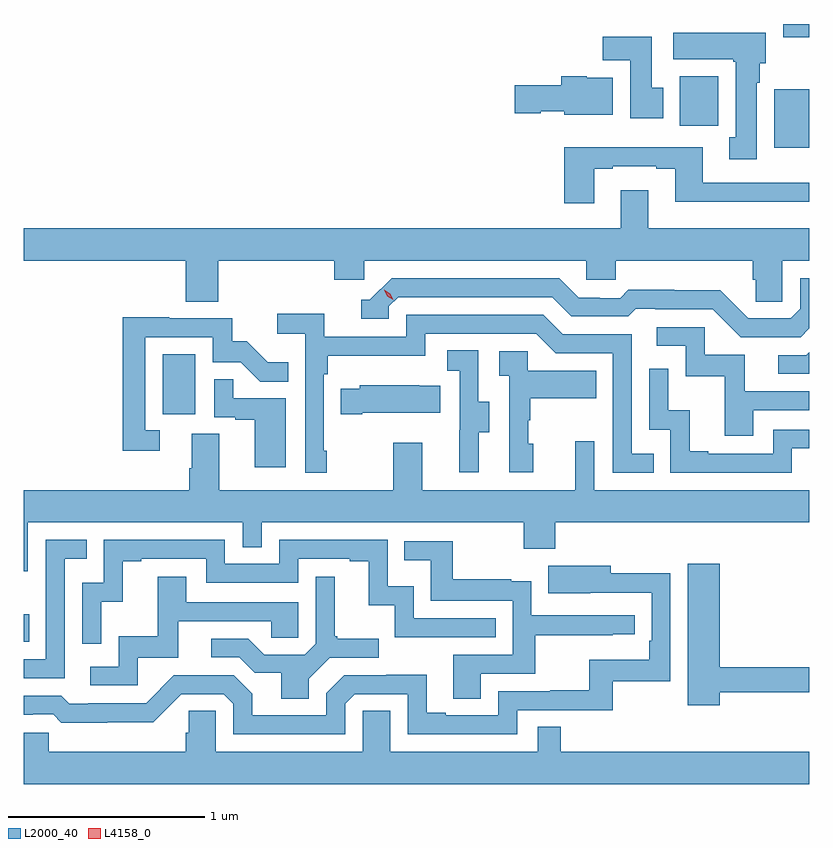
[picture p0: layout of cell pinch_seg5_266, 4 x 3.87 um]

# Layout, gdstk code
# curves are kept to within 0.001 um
import gdstk
lib = gdstk.Library(unit=1e-6, precision=1e-09)
def R(c, l, rs):  # rectangles x0, y0, x1, y1
    for r in rs: c.add(gdstk.rectangle(r[:2], r[2:], *l))
def P(c, l, *ps):  # polygons
    for p in ps: c.add(gdstk.Polygon(p, *l))
L2000_40 = (2000, 40)
L4158_0 = (4158, 0)

pinch_seg5_266 = lib.new_cell('pinch_seg5_266')
R(pinch_seg5_266, L2000_40, [(912.085,909.431,912.113,909.571), (912.794,910.59,912.958,910.897), (915.425,912.06,915.621,912.31), (915.953,912.51,916.085,912.577)])
P(pinch_seg5_266, L2000_40, [(915.817,912.278),(915.832,912.278),(915.832,912.378),(915.862,912.378),(915.862,912.532),(915.393,912.532),(915.393,912.398),(915.697,912.398),(915.697,912.385),(915.71,912.385),(915.71,912.001),(915.677,912.001),(915.677,911.889),(915.817,911.889)],
  [(915.34,912.252),(915.283,912.252),(915.283,912.511),(915.034,912.511),(915.034,912.392),(915.173,912.392),(915.173,912.096),(915.34,912.096)],
  [(915.085,912.304),(914.952,912.304),(914.952,912.31),(914.822,912.31),(914.822,912.264),(914.586,912.264),(914.586,912.122),(914.718,912.122),(914.718,912.134),(914.838,912.134),(914.838,912.116),(915.085,912.116)],
  [(916.084,912.047),(916.085,912.047),(916.085,912.194),(916.084,912.194),(916.084,912.244),(915.905,912.244),(915.905,911.948),(916.084,911.948)],
  [(914.989,911.841),(915.085,911.841),(915.085,911.853),(915.305,911.853),(915.305,911.841),(915.401,911.841),(915.401,911.672),(916.085,911.672),(916.085,911.769),(915.541,911.769),(915.541,911.95),(914.837,911.95),(914.837,911.664),(914.989,911.664)],
  [(913.076,911.372),(913.667,911.372),(913.667,911.274),(913.818,911.274),(913.818,911.372),(914.949,911.372),(914.949,911.274),(915.099,911.274),(915.099,911.372),(915.797,911.372),(915.797,911.274),(915.811,911.274),(915.811,911.164),(915.948,911.164),(915.948,911.372),(916.085,911.372),(916.085,911.536),(915.265,911.536),(915.265,911.731),(915.125,911.731),(915.125,911.536),(912.085,911.536),(912.085,911.372),(912.911,911.372),(912.911,911.164),(913.076,911.164)],
  [(916.085,911.027),(916.085,911.283),(916.038,911.283),(916.038,911.127),(915.99,911.079),(915.774,911.079),(915.632,911.221),(915.396,911.221),(915.396,911.224),(915.163,911.224),(915.121,911.181),(915.018,911.181),(915.018,911.184),(914.911,911.184),(914.812,911.283),(913.959,911.283),(913.848,911.172),(913.805,911.172),(913.805,911.076),(913.944,911.076),(913.944,911.139),(913.992,911.187),(914.775,911.187),(914.874,911.088),(915.163,911.088),(915.202,911.127),(915.301,911.127),(915.301,911.124),(915.594,911.124),(915.735,910.983),(916.041,910.983)],
  [(913.627,910.405),(913.614,910.405),(913.614,910.793),(913.634,910.793),(913.634,910.889),(914.13,910.889),(914.13,911.001),(914.694,911.001),(914.793,910.902),(915.084,910.902),(915.084,910.293),(915.293,910.293),(915.293,910.389),(915.18,910.389),(915.18,910.998),(914.83,910.998),(914.731,911.097),(914.034,911.097),(914.034,910.986),(913.616,910.986),(913.616,911.102),(913.377,911.102),(913.377,911),(913.518,911),(913.518,910.293),(913.627,910.293)],
  [(912.778,910.509),(912.705,910.509),(912.705,910.983),(913.047,910.983),(913.047,910.854),(913.191,910.854),(913.289,910.756),(913.433,910.756),(913.433,910.855),(913.329,910.855),(913.222,910.962),(913.146,910.962),(913.146,911.079),(912.827,911.079),(912.827,911.084),(912.589,911.084),(912.589,910.404),(912.778,910.404)],
  [(915.799,910.611),(916.085,910.611),(916.085,910.707),(915.757,910.707),(915.757,910.893),(915.552,910.893),(915.552,911.034),(915.309,911.034),(915.309,910.938),(915.456,910.938),(915.456,910.785),(915.655,910.785),(915.655,910.482),(915.799,910.482)],
  [(914.401,910.498),(914.455,910.498),(914.455,910.653),(914.4,910.653),(914.4,910.916),(914.241,910.916),(914.241,910.813),(914.304,910.813),(914.304,910.509),(914.303,910.509),(914.303,910.296),(914.401,910.296)],
  [(914.68,910.44),(914.655,910.44),(914.655,910.559),(914.665,910.559),(914.665,910.673),(914.999,910.673),(914.999,910.813),(914.652,910.813),(914.652,910.911),(914.505,910.911),(914.505,910.787),(914.556,910.787),(914.556,910.296),(914.68,910.296)],
  [(916.085,910.907),(916.068,910.89),(915.927,910.89),(915.927,910.797),(916.085,910.797)],
  [(915.996,910.416),(916.085,910.416),(916.085,910.512),(915.9,910.512),(915.9,910.389),(915.571,910.389),(915.571,910.402),(915.476,910.402),(915.476,910.61),(915.366,910.61),(915.366,910.822),(915.27,910.822),(915.27,910.512),(915.378,910.512),(915.378,910.293),(915.996,910.293)],
  [(913.42,910.671),(913.151,910.671),(913.151,910.769),(913.056,910.769),(913.056,910.575),(913.163,910.575),(913.163,910.563),(913.262,910.563),(913.262,910.32),(913.42,910.32)],
  [(913.81,910.598),(914.207,910.598),(914.207,910.735),(914.099,910.735),(914.099,910.738),(913.797,910.738),(913.797,910.72),(913.699,910.72),(913.699,910.591),(913.81,910.591)],
  [(912.105,910.04),(913.2,910.04),(913.2,909.913),(913.296,909.913),(913.296,910.04),(914.632,910.04),(914.632,909.905),(914.792,909.905),(914.792,910.04),(916.085,910.04),(916.085,910.204),(914.991,910.204),(914.991,910.453),(914.894,910.453),(914.894,910.204),(914.113,910.204),(914.113,910.444),(913.966,910.444),(913.966,910.204),(913.081,910.204),(913.081,910.49),(912.941,910.49),(912.941,910.316),(912.929,910.316),(912.929,910.204),(912.085,910.204),(912.085,909.792),(912.105,909.792)],
  [(912.48,909.635),(912.59,909.635),(912.59,909.843),(912.685,909.843),(912.685,909.855),(913.014,909.855),(913.014,909.732),(913.482,909.732),(913.482,909.855),(913.745,909.855),(913.745,909.843),(913.841,909.843),(913.841,909.617),(913.974,909.617),(913.974,909.456),(914.489,909.456),(914.489,909.552),(914.07,909.552),(914.07,909.715),(913.938,909.715),(913.938,909.951),(913.386,909.951),(913.386,909.828),(913.11,909.828),(913.11,909.951),(912.492,909.951),(912.492,909.732),(912.384,909.732),(912.384,909.423),(912.48,909.423)],
  [(912.294,909.855),(912.407,909.855),(912.407,909.951),(912.198,909.951),(912.198,909.342),(912.085,909.342),(912.085,909.246),(912.294,909.246)],
  [(914.413,909.27),(914.69,909.27),(914.69,909.466),(915.083,909.466),(915.083,909.471),(915.196,909.471),(915.196,909.567),(914.67,909.567),(914.67,909.739),(914.567,909.739),(914.567,909.751),(914.269,909.751),(914.269,909.945),(914.023,909.945),(914.023,909.848),(914.158,909.848),(914.158,909.642),(914.574,909.642),(914.574,909.366),(914.273,909.366),(914.273,909.142),(914.413,909.142)],
  [(915.628,909.174),(916.085,909.174),(916.085,909.302),(915.628,909.302),(915.628,909.829),(915.467,909.829),(915.467,909.108),(915.628,909.108)],
  [(913.722,909.117),(913.77,909.165),(914.04,909.165),(914.04,908.961),(914.598,908.961),(914.598,909.084),(915.085,909.084),(915.085,909.231),(915.378,909.231),(915.378,909.782),(915.073,909.782),(915.073,909.82),(914.755,909.82),(914.755,909.68),(915.282,909.681),(915.282,909.436),(915.269,909.436),(915.269,909.34),(914.964,909.34),(914.964,909.185),(914.767,909.185),(914.767,909.18),(914.502,909.18),(914.502,909.057),(914.233,909.057),(914.233,909.07),(914.137,909.07),(914.137,909.263),(913.932,909.263),(913.932,909.261),(913.716,909.261),(913.626,909.171),(913.626,909.057),(913.249,909.057),(913.249,909.167),(913.155,909.261),(912.849,909.261),(912.708,909.12),(912.415,909.12),(912.415,909.117),(912.316,909.117),(912.277,909.156),(912.085,909.156),(912.085,909.06),(912.132,909.06),(912.132,909.063),(912.235,909.063),(912.277,909.021),(912.51,909.021),(912.51,909.023),(912.746,909.023),(912.888,909.165),(913.104,909.165),(913.152,909.117),(913.152,908.961),(913.722,908.961)],
  [(913.537,909.244),(913.644,909.351),(913.894,909.351),(913.894,909.448),(913.681,909.448),(913.681,909.46),(913.669,909.46),(913.669,909.763),(913.572,909.763),(913.572,909.423),(913.515,909.366),(913.309,909.366),(913.228,909.447),(913.041,909.447),(913.041,909.354),(913.182,909.354),(913.262,909.274),(913.397,909.274),(913.397,909.142),(913.537,909.142)],
  [(912.666,909.351),(912.871,909.351),(912.871,909.537),(913.345,909.537),(913.345,909.453),(913.482,909.453),(913.482,909.633),(912.913,909.633),(912.913,909.763),(912.769,909.763),(912.769,909.46),(912.57,909.46),(912.57,909.306),(912.423,909.306),(912.423,909.21),(912.666,909.21)],
  [(916.085,908.872),(914.819,908.872),(914.819,908.999),(914.703,908.999),(914.703,908.872),(913.951,908.872),(913.951,909.08),(913.812,909.08),(913.812,908.872),(913.062,908.872),(913.062,909.08),(912.925,909.08),(912.925,908.97),(912.911,908.97),(912.911,908.872),(912.213,908.872),(912.213,908.97),(912.085,908.97),(912.085,908.708),(916.085,908.708)])
P(pinch_seg5_266, L4158_0, [(913.967,911.172),(913.937,911.192),(913.921,911.225),(913.921,911.225),(913.921,911.225),(913.952,911.205),(913.967,911.172),(913.967,911.172)])

lib.write_gds('pinch_seg5_266.gds')
